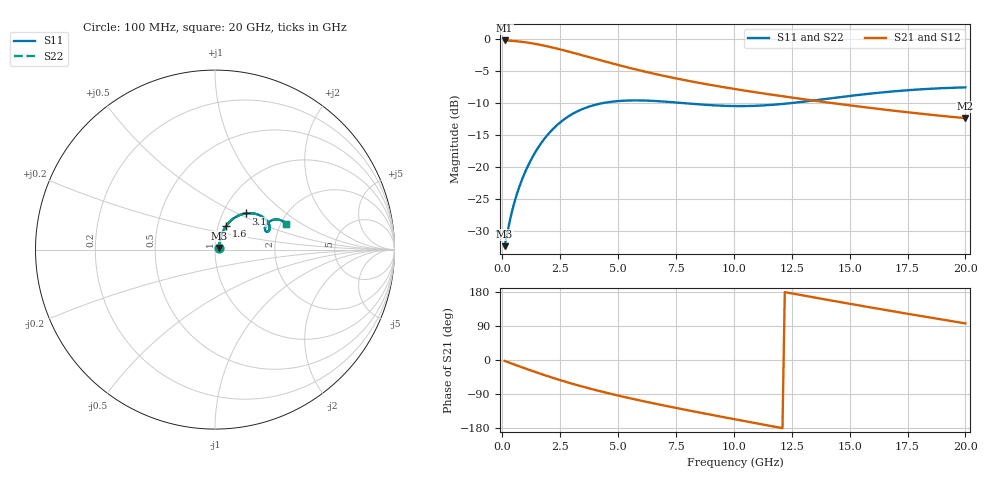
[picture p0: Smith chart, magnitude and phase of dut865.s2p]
! Touchstone file exported from HFSS 2024.1.0
!  File:  C:/UserFiles/LocalFiles/RDL_TSV_Batchsim/temp_RDL_TSV_865_1779925992.aedt
!  Generated:  08:13:40 AM May 28, 2026
!  Design:  RDL_TSV
!  Project:  temp_RDL_TSV_865_1779925992
!  Setup:  Setup1
!  Solution:  Sweep
! Variables:
!  dtsv = 8.87um
!  hbump = 3um
!  htsv = 80.46um
!  ldown = 607.78um
!  lrdl = 511.66um
!  p = 40
!  p1 = 58.96um
!  rhole = 10um
!  subl = 3869.98um
!  t = 450um
!  tdown = 4.51um
!  trdl = 3.3um
!  viad = 10um
!  wdown = 14.28um
!  wrdl = 19.1um
!  xbump = 18um
# GHz S MA R 50.000000
! Terminal data exported
! Port[1] = TM1_1_T1
! Port[2] = TM1_4_T1
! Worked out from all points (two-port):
!   200 points, 100 MHz to 20 GHz, reference 50 ohm
!   highest |S21| = -0.20 dB at 100 MHz (marker M1); lowest = -12.4 dB at 20 GHz (marker M2)
!   |S21| within 3 dB of the highest: start of sweep to 4.142 GHz
!   lowest |S11| = -32.4 dB at 100 MHz (marker M3), VSWR 1.05, Z = 52.3 + j0.964 ohm
!   |S11| at or under -10 dB: start of sweep to 4.341 GHz; 7.832 GHz to 12.47 GHz (4.639 GHz wide, 45.7 % of centre)
!   |S22| runs from -32.4 to -7.5 dB; largest |S21 - S12| = 6.1e-15
!   S11 on the Smith chart (normalised r, x): 100 MHz: 1.05, +0.02; 1.6 GHz: 1.09, +0.30; 3.1 GHz: 1.28, +0.55; 20 GHz: 2.12, +0.75
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0.1  0.02403 22.6  0.9776 -2.3  0.9776 -2.3  0.02403 22.6
! Gamma 0 0 0 0
! Port Impedance 50 0 50 0
0.4  0.0435 53.6  0.9713 -9.2  0.9713 -9.2  0.0435 53.6
0.7  0.0671 62.6  0.9606 -16.0  0.9606 -16.0  0.0671 62.6
1.1  0.1013 66.1  0.9402 -24.8  0.9402 -24.8  0.1014 66.1
1.6  0.1465 64.8  0.9065 -35.3  0.9065 -35.3  0.1466 64.8
1.9  0.1735 62.5  0.8832 -41.5  0.8832 -41.5  0.1735 62.5
2.3  0.2076 58.6  0.8498 -49.3  0.8498 -49.3  0.2077 58.6
2.7  0.2382 54.1  0.8149 -56.8  0.8149 -56.8  0.2383 54.2
3.1  0.2645 49.6  0.7796 -64.0  0.7796 -64.0  0.2646 49.6
3.5  0.286 45.1  0.745 -70.8  0.745 -70.8  0.2861 45.1
4.3  0.3152 37.0  0.6797 -83.5  0.6797 -83.5  0.3153 37.0
5.1  0.3291 30.4  0.622 -95.3  0.622 -95.3  0.3292 30.4
5.9  0.3319 25.2  0.5722 -106.2  0.5722 -106.2  0.3321 25.2
6.8  0.3269 21.3  0.5249 -117.8  0.5249 -117.8  0.327 21.3
8.4  0.3102 18.7  0.4588 -137.3  0.4588 -137.3  0.3103 18.7
10.1  0.2997 20.7  0.406 -157.1  0.406 -157.1  0.2999 20.7
11.7  0.307 24.3  0.3666 -175.3  0.3666 -175.3  0.3071 24.4
13.4  0.3308 27.0  0.3317 165.8  0.3317 165.8  0.3309 27.0
15  0.3596 27.2  0.3038 148.4  0.3038 148.4  0.3597 27.2
16.7  0.3879 25.6  0.2786 130.4  0.2786 130.4  0.388 25.6
18.3  0.4077 23.1  0.2586 113.8  0.2586 113.8  0.4078 23.1
20  0.4198 20.1  0.2411 96.6  0.2411 96.6  0.4199 20.2
